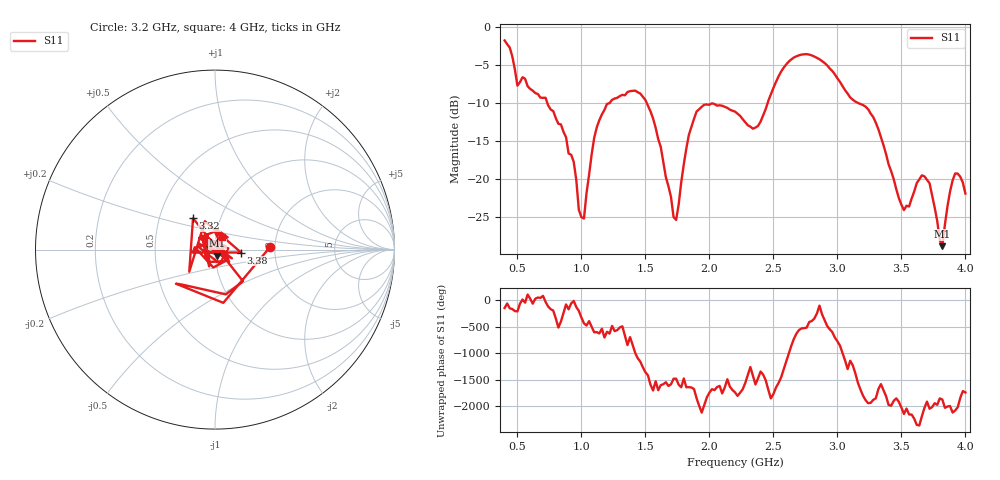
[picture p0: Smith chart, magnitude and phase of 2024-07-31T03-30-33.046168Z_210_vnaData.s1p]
!Created with skrf (http://scikit-rf.org).
# Hz S RI R 50.0
!freq ReS11 ImS11
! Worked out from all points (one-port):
!   181 points, 400 MHz to 4 GHz, reference 50 ohm
!   lowest |S11| = -28.8 dB at 3.82 GHz (marker M1), VSWR 1.08, Z = 51.1 - j3.5 ohm
!   |S11| at or under -10 dB: 734.5 MHz to 1.216 GHz (481.7 MHz wide, 49.4 % of centre); 1.511 GHz to 2.454 GHz (943.1 MHz wide, 47.6 % of centre); 3.165 GHz to end of sweep
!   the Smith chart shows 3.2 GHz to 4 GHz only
!   S11 on the Smith chart (normalised r, x): 3.2 GHz: 1.89, +0.06; 3.32 GHz: 0.74, +0.27; 3.38 GHz: 1.34, -0.05; 4 GHz: 1.06, +0.15
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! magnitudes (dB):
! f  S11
! 400 MHz  -1.7
! 500 MHz  -7.7
! 720 MHz  -9.3
! 860 MHz  -13.8
! 940 MHz  -17.7
! 1.02 GHz  -25.2
! 1.12 GHz  -13.2
! 1.3 GHz  -9.1
! 1.5 GHz  -9.6
! 1.62 GHz  -15.8
! 1.72 GHz  -25.0
! 1.76 GHz  -23.3
! 1.84 GHz  -14.1
! 1.9 GHz  -11.1
! 2.2 GHz  -11.1
! 2.38 GHz  -13.0
! 2.66 GHz  -4.0
! 2.86 GHz  -4.2
! 3.1 GHz  -9.2
! 3.2 GHz  -10.2
! 3.32 GHz  -13.4
! 3.38 GHz  -16.7
! 3.5 GHz  -23.4
! 3.56 GHz  -23.6
! 3.68 GHz  -19.6
! 3.82 GHz  -28.8
! 3.92 GHz  -19.2
! 4 GHz  -21.9
